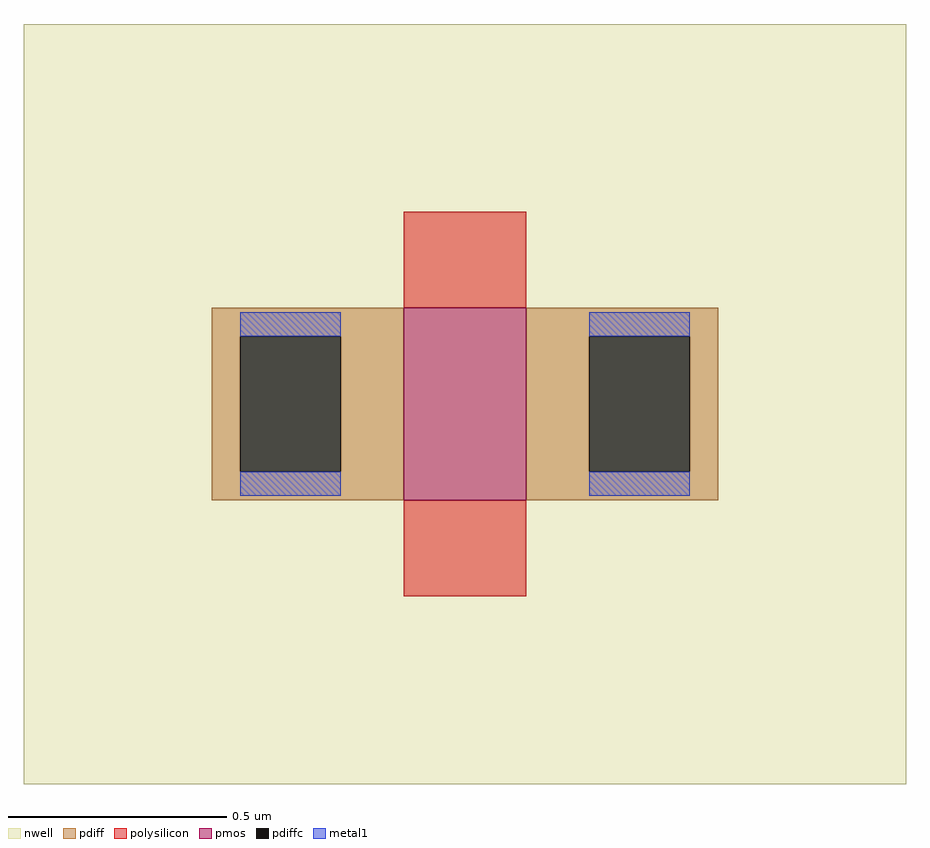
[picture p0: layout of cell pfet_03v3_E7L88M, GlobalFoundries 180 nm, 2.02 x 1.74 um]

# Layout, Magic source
magic
tech gf180mcuC
magscale 1 10
<< nwell >>
rect -202 -174 202 174
<< pmos >>
rect -28 -44 28 44
<< pdiff >>
rect -116 31 -28 44
rect -116 -31 -103 31
rect -57 -31 -28 31
rect -116 -44 -28 -31
rect 28 31 116 44
rect 28 -31 57 31
rect 103 -31 116 31
rect 28 -44 116 -31
<< pdiffc >>
rect -103 -31 -57 31
rect 57 -31 103 31
<< polysilicon >>
rect -28 44 28 88
rect -28 -88 28 -44
<< metal1 >>
rect -103 31 -57 42
rect -103 -42 -57 -31
rect 57 31 103 42
rect 57 -42 103 -31
<< properties >>
string gencell pfet_03v3
string library gf180mcu
string parameters w 0.440 l 0.280 m 1 nf 1 diffcov 100 polycov 100 guard 0 glc 0 grc 0 gtc 0 gbc 0 tbcov 100 rlcov 100 topc 0 botc 0 poverlap 0 doverlap 0 lmin 0.28 wmin 0.22 class mosfet full_metal 0 compatible {pfet_03v3 pfet_05v0 pfet_06v0}
<< end >>
